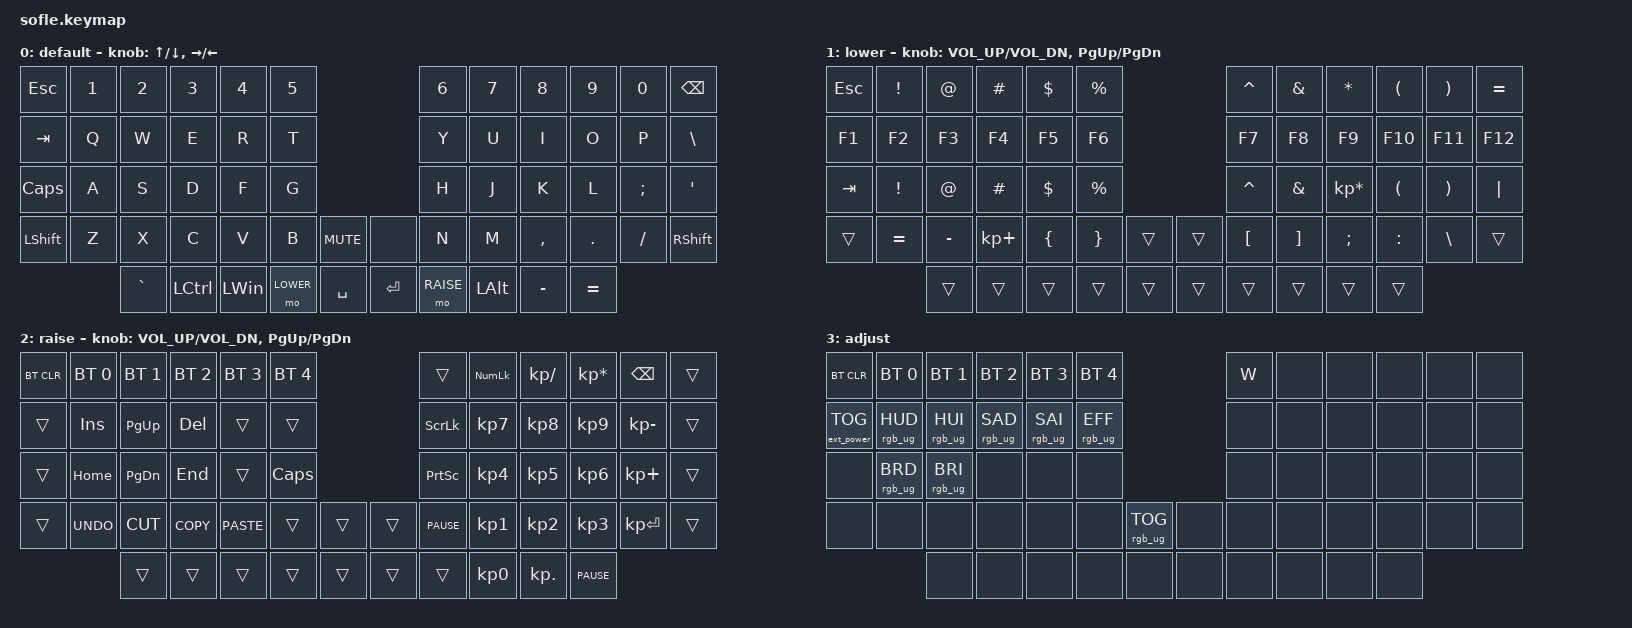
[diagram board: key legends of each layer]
/*
 * Copyright (c) 2020 The ZMK Contributors
 *
 * SPDX-License-Identifier: MIT
 */

#include <behaviors.dtsi>
#include <dt-bindings/zmk/bt.h>
#include <dt-bindings/zmk/ext_power.h>
#include <dt-bindings/zmk/keys.h>
#include <dt-bindings/zmk/rgb.h>

#define BASE 0
#define LOWER 1
#define RAISE 2
#define ADJUST 3

/ {
    // Activate ADJUST layer by pressing raise and lower

    conditional_layers {
        compatible = "zmk,conditional-layers";

        adjust_layer {
            if-layers = <LOWER RAISE>;
            then-layer = <ADJUST>;
        };
    };

    keymap {
        compatible = "zmk,keymap";

        default_layer {
            label = "default";

            // ------------------------------------------------------------------------------------------------------------
            // |   `   |  1  |  2  |  3   |  4   |  5   |                   |  6   |  7    |  8    |  9   |   0   |       |
            // |  ESC  |  Q  |  W  |  E   |  R   |  T   |                   |  Y   |  U    |  I    |  O   |   P   | BKSPC |
            // |  TAB  |  A  |  S  |  D   |  F   |  G   |                   |  H   |  J    |  K    |  L   |   ;   |   '   |
            // | SHIFT |  Z  |  X  |  C   |  V   |  B   |  MUTE  |  |       |  N   |  M    |  ,    |  .   |   /   | SHIFT |
            //               | GUI | ALT  | CTRL | LOWER|  ENTER |  | SPACE | RAISE| CTRL  | ALT   | GUI  |

            bindings = <
&kp ESC         &kp N1  &kp N2     &kp N3     &kp N4        &kp N5                              &kp N6     &kp N7        &kp N8     &kp N9     &kp N0    &kp BACKSPACE
&kp TAB         &kp Q   &kp W      &kp E      &kp R         &kp T                               &kp Y      &kp U         &kp I      &kp O      &kp P     &kp BACKSLASH
&kp CAPS        &kp A   &kp S      &kp D      &kp F         &kp G                               &kp H      &kp J         &kp K      &kp L      &kp SEMI  &kp SQT
&kp LEFT_SHIFT  &kp Z   &kp X      &kp C      &kp V         &kp B      &kp C_MUTE    &none      &kp N      &kp M         &kp COMMA  &kp DOT    &kp FSLH  &kp RSHFT
                        &kp GRAVE  &kp LCTRL  &kp LEFT_WIN  &mo LOWER  &kp SPACE     &kp ENTER  &mo RAISE  &kp LEFT_ALT  &kp MINUS  &kp EQUAL
            >;

            sensor-bindings =
                <&inc_dec_kp UP_ARROW DOWN>,
                <&inc_dec_kp RIGHT LEFT_ARROW>;
        };

        lower_layer {
            label = "lower";

            // TODO: Some binds are waiting for shifted keycode support.
            // ------------------------------------------------------------------------------------------------------------
            // |       |  F1 |  F2 |  F3  |  F4  |  F5  |                   |  F6  |  F7   |  F8   |  F9  |  F10  |  F11  |
            // |   `   |  1  |  2  |  3   |  4   |  5   |                   |  6   |  7    |  8    |  9   |   0   |  F12  |
            // |       |  !  |  @  |  #   |  $   |  %   |                   |  ^   |  &    |  *    |  (   |   )   |   |   |
            // |       |  =  |  -  |  +   |  {   |  }   |        |  |       |  [   |  ]    |  ;    |  :   |   \   |       |
            //               |     |      |      |      |        |  |       |      |       |       |      |

            bindings = <
&kp ESC  &kp EXCLAMATION  &kp AT_SIGN  &kp HASH     &kp DOLLAR  &kp PERCENT                    &kp CARET  &kp AMPERSAND  &kp ASTERISK     &kp LEFT_PARENTHESIS  &kp RIGHT_PARENTHESIS  &kp EQUAL
&kp F1   &kp F2           &kp F3       &kp F4       &kp F5      &kp F6                         &kp F7     &kp F8         &kp F9           &kp F10               &kp F11                &kp F12
&kp TAB  &kp EXCL         &kp AT       &kp HASH     &kp DLLR    &kp PRCNT                      &kp CARET  &kp AMPS       &kp KP_MULTIPLY  &kp LPAR              &kp RPAR               &kp PIPE
&trans   &kp EQUAL        &kp MINUS    &kp KP_PLUS  &kp LBRC    &kp RBRC     &trans    &trans  &kp LBKT   &kp RBKT       &kp SEMI         &kp COLON             &kp BSLH               &trans
                          &trans       &trans       &trans      &trans       &trans    &trans  &trans     &trans         &trans           &trans
            >;

            sensor-bindings = <&inc_dec_kp C_VOL_UP C_VOL_DN &inc_dec_kp PG_UP PG_DN>;
        };

        raise_layer {
            label = "raise";

            // ------------------------------------------------------------------------------------------------------------
            // | BTCLR | BT1  | BT2  |  BT3  |  BT4  |  BT5 |                |      |      |       |      |       |       |
            // |       | INS  | PSCR | GUI   |       |      |                | PGUP |      |   ^   |      |       |       |
            // |       | ALT  | CTRL | SHIFT |       | CAPS |                | PGDN |   <- |   v   |  ->  |  DEL  | BKSPC |
            // |       | UNDO | CUT  | COPY  | PASTE |      |      |  |      |      |      |       |      |       |       |
            //                |      |       |       |      |      |  |      |      |      |       |      |

            bindings = <
&bt BT_CLR  &bt BT_SEL 0  &bt BT_SEL 1   &bt BT_SEL 2  &bt BT_SEL 3  &bt BT_SEL 4                    &trans           &kp KP_NUMLOCK   &kp KP_DIVIDE    &kp KP_MULTIPLY  &kp BACKSPACE  &trans
&trans      &kp INS       &kp PAGE_UP    &kp DEL       &trans        &trans                          &kp SCROLLLOCK   &kp KP_NUMBER_7  &kp KP_NUMBER_8  &kp KP_NUMBER_9  &kp KP_MINUS   &trans
&trans      &kp HOME      &kp PAGE_DOWN  &kp END       &trans        &kp CLCK                        &kp PRINTSCREEN  &kp KP_NUMBER_4  &kp KP_NUMBER_5  &kp KP_NUMBER_6  &kp KP_PLUS    &trans
&trans      &kp K_UNDO    &kp K_CUT      &kp K_COPY    &kp K_PASTE   &trans        &trans    &trans  &kp C_PAUSE      &kp KP_NUMBER_1  &kp KP_NUMBER_2  &kp KP_NUMBER_3  &kp KP_ENTER   &trans
                          &trans         &trans        &trans        &trans        &trans    &trans  &trans           &kp KP_NUMBER_0  &kp KP_DOT       &kp C_PAUSE
            >;

            sensor-bindings = <&inc_dec_kp C_VOL_UP C_VOL_DN &inc_dec_kp PG_UP PG_DN>;
        };

        adjust_layer {
            // ----------------------------------------------------------------------------------------------------------------------------
            // | BTCLR  |  BT1    |  BT2    |   BT3   |   BT4   |   BT5   |                  |      |      |       |      |       |       |
            // | EXTPWR | RGB_HUD | RGB_HUI | RGB_SAD | RGB_SAI | RGB_EFF |                  |      |      |       |      |       |       |
            // |        | RGB_BRD | RGB_BRI |         |         |         |                  |      |      |       |      |       |       |
            // |        |         |         |         |         |         | RGB_TOG | |      |      |      |       |      |       |       |
            //                    |         |         |         |         |         | |      |      |      |       |      |

            label = "adjust";
            bindings = <
&bt BT_CLR         &bt BT_SEL 0     &bt BT_SEL 1     &bt BT_SEL 2     &bt BT_SEL 3     &bt BT_SEL 4                               &kp W  &none  &none  &none  &none  &none
&ext_power EP_TOG  &rgb_ug RGB_HUD  &rgb_ug RGB_HUI  &rgb_ug RGB_SAD  &rgb_ug RGB_SAI  &rgb_ug RGB_EFF                            &none  &none  &none  &none  &none  &none
&none              &rgb_ug RGB_BRD  &rgb_ug RGB_BRI  &none            &none            &none                                      &none  &none  &none  &none  &none  &none
&none              &none            &none            &none            &none            &none            &rgb_ug RGB_TOG    &none  &none  &none  &none  &none  &none  &none
                                    &none            &none            &none            &none            &none              &none  &none  &none  &none  &none
            >;
        };
    };
};
